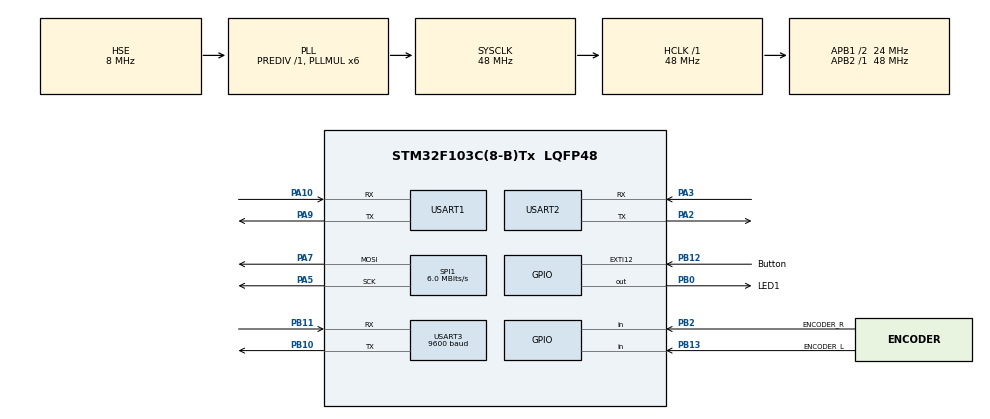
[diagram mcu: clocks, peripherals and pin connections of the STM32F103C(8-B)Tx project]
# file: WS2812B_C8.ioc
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Dma.Request0=SPI1_TX
Dma.SPI1_TX.0.Direction=DMA_MEMORY_TO_PERIPH
Dma.SPI1_TX.0.Instance=DMA1_Channel3
Dma.SPI1_TX.0.MemDataAlignment=DMA_MDATAALIGN_BYTE
Dma.SPI1_TX.0.MemInc=DMA_MINC_ENABLE
Dma.SPI1_TX.0.Mode=DMA_CIRCULAR
Dma.SPI1_TX.0.PeriphDataAlignment=DMA_PDATAALIGN_BYTE
Dma.SPI1_TX.0.PeriphInc=DMA_PINC_DISABLE
Dma.SPI1_TX.0.Priority=DMA_PRIORITY_VERY_HIGH
Mcu.Family=STM32F1
Mcu.Name=STM32F103C(8-B)Tx
Mcu.Package=LQFP48
NVIC.DMA1_Channel3_IRQn=true\:1\:0\:true\:false\:true\:false\:true
NVIC.EXTI15_10_IRQn=true\:0\:0\:false\:false\:true\:true\:true
NVIC.PriorityGroup=NVIC_PRIORITYGROUP_4
NVIC.TIM2_IRQn=true\:2\:0\:true\:false\:true\:true\:true
NVIC.USART1_IRQn=true\:0\:0\:false\:false\:true\:true\:true
NVIC.USART2_IRQn=true\:3\:0\:true\:false\:true\:true\:true
NVIC.USART3_IRQn=true\:3\:0\:true\:false\:true\:true\:true
PA10.Mode=Asynchronous
PA10.Signal=USART1_RX
PA13.Mode=Serial_Wire
PA13.Signal=SYS_JTMS-SWDIO
PA14.Mode=Serial_Wire
PA14.Signal=SYS_JTCK-SWCLK
PA2.Mode=Asynchronous
PA2.Signal=USART2_TX
PA3.Mode=Asynchronous
PA3.Signal=USART2_RX
PA5.Mode=TX_Only_Simplex_Unidirect_Master
PA5.Signal=SPI1_SCK
PA7.Mode=TX_Only_Simplex_Unidirect_Master
PA7.Signal=SPI1_MOSI
PA9.Mode=Asynchronous
PA9.Signal=USART1_TX
PB0.GPIO_Label=LED1
PB0.Signal=GPIO_Output
PB10.Mode=Asynchronous
PB10.Signal=USART3_TX
PB11.Mode=Asynchronous
PB11.Signal=USART3_RX
PB12.GPIO_Label=Button
PB12.GPIO_ModeDefaultEXTI=GPIO_MODE_IT_FALLING
PB12.GPIO_PuPd=GPIO_PULLUP
PB12.Signal=GPXTI12
PB13.GPIO_Label=ENCODER_L
PB13.GPIO_PuPd=GPIO_PULLUP
PB13.Signal=GPIO_Input
PB2.GPIO_Label=ENCODER_R
PB2.GPIO_PuPd=GPIO_PULLUP
PB2.Signal=GPIO_Input
PD0-OSC_IN.Mode=HSE-External-Oscillator
PD0-OSC_IN.Signal=RCC_OSC_IN
PD1-OSC_OUT.Mode=HSE-External-Oscillator
PD1-OSC_OUT.Signal=RCC_OSC_OUT
ProjectManager.HeapSize=0x200
ProjectManager.StackSize=0x400
ProjectManager.TargetToolchain=MDK-ARM V5
RCC.ADCPresc=RCC_ADCPCLK2_DIV4
RCC.AHBFreq_Value=48000000
RCC.APB1CLKDivider=RCC_HCLK_DIV2
RCC.APB1Freq_Value=24000000
RCC.APB1TimFreq_Value=48000000
RCC.APB2Freq_Value=48000000
RCC.APB2TimFreq_Value=48000000
RCC.HCLKFreq_Value=48000000
RCC.PLLMUL=RCC_PLL_MUL6
RCC.PLLSourceVirtual=RCC_PLLSOURCE_HSE
RCC.SYSCLKFreq_VALUE=48000000
RCC.SYSCLKSource=RCC_SYSCLKSOURCE_PLLCLK
RCC.USBFreq_Value=48000000
SPI1.BaudRatePrescaler=SPI_BAUDRATEPRESCALER_8
SPI1.CalculateBaudRate=6.0 MBits/s
SPI1.Direction=SPI_DIRECTION_2LINES
SPI1.Mode=SPI_MODE_MASTER
SPI1.VirtualType=VM_MASTER
TIM2.AutoReloadPreload=TIM_AUTORELOAD_PRELOAD_ENABLE
TIM2.Period=500
TIM2.Prescaler=4799
USART1.VirtualMode=VM_ASYNC
USART2.VirtualMode=VM_ASYNC
USART3.BaudRate=9600
USART3.VirtualMode=VM_ASYNC
VP_TIM2_VS_ClockSourceINT.Mode=Internal
board=custom

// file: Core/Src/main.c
/* USER CODE BEGIN Header */
/**
  ******************************************************************************
  * @file           : main.c
  * @brief          : Main program body
  ******************************************************************************
  * @attention
  *
  * <h2><center>&copy; Copyright (c) 2020 STMicroelectronics.
  * All rights reserved.</center></h2>
  *
  * This software component is licensed by ST under BSD 3-Clause license,
  * the "License"; You may not use this file except in compliance with the
  * License. You may obtain a copy of the License at:
  *                        opensource.org/licenses/BSD-3-Clause
  *
  ******************************************************************************
  */
/* USER CODE END Header */

#include "main.h"
#include "dma.h"
#include "spi.h"
#include "tim.h"
#include "usart.h"
#include "gpio.h"

/* USER CODE BEGIN Includes */
#include <stdlib.h>
#include "ws2812b.h"
#include "ws2812b_fx.h"
//#include "usb_parsing.h"
#include "sys.h"
#include "delay.h"
#include "usart.h"
#include <stdio.h>
#include <string.h>
/* USER CODE END Includes */

/* USER CODE BEGIN PTD */
uint8_t uart3_RxBuffer[30];

/* USER CODE END PTD */

/* USER CODE BEGIN PD */
int H;
int S;
int V;//H:0~180  S:0~255 V:0~255
int R=255,G=255,B=255;

	int data = 0;
	int LED = 0;
	int MODE = 2;
	int POWER = 1;

	int data_FLAG = 2;
	int LED_FLAG = 1;
	int MODE_FLAG = 0;
	int POWER_FLAG = 1;

/* USER CODE END PD */

void SystemClock_Config(void);

/* USER CODE BEGIN 0 */
int TODO(int mode,int data);//执行函数
int switch1(int num);

/* USER CODE END 0 */

int main(void)
{
  /* USER CODE BEGIN 1 */
	uint32_t ADC1_DMA_IN[1];
	float voltage;
  int h = 0;
	int Button_Flag=0;
	int R=255,G=255,B=255;

	H=255;
	S = 0;
	V = 100;

	data =100;

//	u8 b=0,c=0x01,push=0;
  /* USER CODE END 1 */

  /* MCU Configuration--------------------------------------------------------*/

  /* Reset of all peripherals, Initializes the Flash interface and the Systick. */
  HAL_Init();

  /* Configure the system clock */
  SystemClock_Config();

  /* Initialize all configured peripherals */
  MX_GPIO_Init();
  MX_DMA_Init();
  MX_SPI1_Init();
  MX_USART1_UART_Init();
  MX_TIM2_Init();
  MX_USART2_UART_Init();
  MX_USART3_UART_Init();
  /* USER CODE BEGIN 2 */
	HAL_UART_Receive_IT(&huart3,uart3_RxBuffer,10);//使能蓝牙串口接收
  WS2812B_Init(&hspi1);

  WS2812BFX_Init(1);	// Start 3 segments

    WS2812BFX_SetSpeed(0, 50000);	      // Speed of segment 0
//  WS2812BFX_SetSpeed(1, 2000);	      // Speed of segment 1
//  WS2812BFX_SetSpeed(2, 500);	        // Speed of segment 2
 //   WS2812BFX_SetColorRGB(0, 32,0,64);	// Set color 0
    WS2812BFX_SetColorRGB(0, 255,255,255);
    WS2812BFX_SetColorHSV(0,H,S,V);
//  WS2812BFX_SetColorRGB(1, 32,0,0);		// Set color 1
//  WS2812BFX_SetColorRGB(2, 0,64,0);		// Set color 2
   // WS2812BFX_SetMode(0, FX_MODE_WHITE_TO_COLOR);	// Set mode segment 0

//  WS2812BFX_SetColorRGB(0, 16,64,0);
//  WS2812BFX_SetColorRGB(1, 0,32,64);
//  WS2812BFX_SetColorRGB(2, 64,0,0);
    WS2812BFX_SetMode(0, FX_MODE_STATIC);	// Set mode segment 1

//  WS2812BFX_SetColorRGB(0, 16,64,0);
//  WS2812BFX_SetColorRGB(1, 0,32,64);
//  WS2812BFX_SetColorRGB(2, 64,0,0);
//  WS2812BFX_SetMode(2, FX_MODE_COLOR_WIPE); 	// Set mode segment 2

  HAL_Delay(2000);

  WS2812BFX_Start(0);	// Start segment 0
//  WS2812BFX_Start(1);	// Start segment 1
//  WS2812BFX_Start(2);	// Start segment 2
//

    printf("2,");
//  HAL_GPIO_WritePin(GPIOB, LED1_Pin, GPIO_PIN_SET);//led test
//  HAL_Delay(200);
int num=0, hw=1,gm=0;

  /* USER CODE END 2 */

  /* Infinite loop */
  /* USER CODE BEGIN WHILE */

while(1){

		if((USART3_RX_STA&0x3FFF)>0){
		//printf("recrived: %s\r\n",USART3_RX_BUF);
//		num=atoi(&USART3_RX_BUF[2]);
//		printf("atoi: %d\r\n",num);
   //printf("USART3_RX_BUF[0]: %c\r\n",USART3_RX_BUF[0]);

		num = atoi(&USART3_RX_BUF);
	//	printf("num=%d\r\n",num);
		memset(USART3_RX_BUF,0,sizeof(USART3_RX_BUF));
		USART3_RX_STA=0;
		switch(num){
		case 1:MODE = 6;break;
		case 2:MODE = 7;break;
		case 3:printf("2,");break;
		case 4:printf("0,");break;
		case 5:{
			V+=10;
		  if(V>180){V=180;}
			WS2812BFX_SetMode(0, FX_MODE_STATIC);
			WS2812BFX_SetColorHSV(0,H,S,V);
			WS2812BFX_Start(0);
			break;}
		case 6:{
			V-=10;
			if(V<11){V=10;}
			WS2812BFX_SetMode(0, FX_MODE_STATIC);
			WS2812BFX_SetColorHSV(0,H,S,V);
			WS2812BFX_Start(0);
			break;}
		case 7:{  B +=10;
		if(B>200){B=200;}
	  WS2812BFX_SetMode(0, FX_MODE_STATIC);
		WS2812BFX_SetColorRGB(0,R,G,B);
		WS2812BFX_Start(0);
		break;}
		case 8:{B -=10;
		if(B<11){B=0;}
	  WS2812BFX_SetMode(0, FX_MODE_STATIC);
		WS2812BFX_SetColorRGB(0,R,G,B);
		WS2812BFX_Start(0);
		break;}
		case 9:printf("5,");break;
		case 0:printf("10,");break;//wifi
		}
	}

/*
		if(num==1){//开灯
//				WS2812BFX_SetMode(0, FX_MODE_STATIC);
//				WS2812BFX_SetColorHSV(0,0,0,0);
//				WS2812BFX_Start(0);
			    MODE = 6;
		    //printf("off");
			}
		else if(num==2){//关灯
//		    WS2812BFX_SetMode(0, FX_MODE_STATIC);
//				WS2812BFX_SetColorHSV(0,255,0,100);
//				WS2812BFX_Start(0);
		   // printf("on");
			    MODE = 7;
			}
		else if(num==3){printf("2,");}//LED1氛围灯开
		else if(num==4){printf("0,");}//LED1氛围灯关
		else if(num==5){MODE = 10;}
		else if(num==6){MODE = 11;}
		else if(num==7){MODE = 12;}//光敏开
		else if(num==8){MODE = 13;}//光敏关
		else if(num==9){printf("5,");}//模式一
		else if(num==10){printf("9,");}//模式二
		else if(num>10&&num<265){
			  WS2812BFX_SetMode(0, FX_MODE_STATIC);
				WS2812BFX_SetColorHSV(0,H,S,num-10);
				WS2812BFX_Start(0);
		    printf("4,%d,",num-10);
		}//亮度
		else if(num>265&&num<520){
			  WS2812BFX_SetMode(0, FX_MODE_STATIC);
				WS2812BFX_SetColorRGB(0,R,G,num-265);
				WS2812BFX_Start(0);
		    printf("1,255,255,%d,150",num-265);
		}//色温或是B值
		else if(num>520&&num<775){ //R值
			  WS2812BFX_SetMode(0, FX_MODE_STATIC);
		    WS2812BFX_SetColorRGB(0,num-520,G,B);
				WS2812BFX_Start(0);
			  //printf("R=%d\r\n",num-520);}
		}else if(num>775&&num<1030){ //R值
			  WS2812BFX_SetMode(0, FX_MODE_STATIC);
		    WS2812BFX_SetColorRGB(0,R,num-775,B);
				WS2812BFX_Start(0);
			  //printf("R=%d\r\n",num-775);
		}
	}
		*/

		  Button_Flag = ENCODER_READ();	//读出旋转编码器值
			switch(Button_Flag){
				case 1:{data = data+3;if(data>252)data=255;break;} //分析按键值，并加减计数器值。
				case 2:{if(data<3)data=0;data=data-3;break;} //分析按键值，并加减计数器值。
				case 3:{//单击
					    MODE++;
					   if(MODE >4){MODE=0;}
								break;
							 }
				case 4:{//双击
					      MODE=5;
								//LED++;
								//if(LED > 1){LED = 0;}
								//printf("double push!!");
								//printf("%d",LED);
								break;
							 }
				case 5:{
								POWER++;
								if(POWER >= 2){POWER=0;}
								else if(POWER == 0){MODE = 0;}
								else if(POWER == 1){MODE = 1;}
							  //printf("long push!!");
					      //printf("%d",POWER);
								break;
							 }//长按
				default:break; //不属于判断情况
				}
			if(POWER!=POWER_FLAG || LED!=LED_FLAG || MODE!=MODE_FLAG || data!= data_FLAG){

			  TODO(MODE,data);//执行函数
				POWER_FLAG=POWER;
				LED_FLAG=LED;
				MODE_FLAG=MODE;
				data_FLAG= data;
			}

			WS2812BFX_Callback();
	}
/*
 while(1){
 HAL_Delay(1000);
	 printf("d");
 }
*/

    /* USER CODE END WHILE */

}

void SystemClock_Config(void)
{
  RCC_OscInitTypeDef RCC_OscInitStruct = {0};
  RCC_ClkInitTypeDef RCC_ClkInitStruct = {0};

  /** Initializes the CPU, AHB and APB busses clocks
  */
  RCC_OscInitStruct.OscillatorType = RCC_OSCILLATORTYPE_HSE;
  RCC_OscInitStruct.HSEState = RCC_HSE_ON;
  RCC_OscInitStruct.HSEPredivValue = RCC_HSE_PREDIV_DIV1;
  RCC_OscInitStruct.HSIState = RCC_HSI_ON;
  RCC_OscInitStruct.PLL.PLLState = RCC_PLL_ON;
  RCC_OscInitStruct.PLL.PLLSource = RCC_PLLSOURCE_HSE;
  RCC_OscInitStruct.PLL.PLLMUL = RCC_PLL_MUL6;
  if (HAL_RCC_OscConfig(&RCC_OscInitStruct) != HAL_OK)
  {
    Error_Handler();
  }
  /** Initializes the CPU, AHB and APB busses clocks
  */
  RCC_ClkInitStruct.ClockType = RCC_CLOCKTYPE_HCLK|RCC_CLOCKTYPE_SYSCLK
                              |RCC_CLOCKTYPE_PCLK1|RCC_CLOCKTYPE_PCLK2;
  RCC_ClkInitStruct.SYSCLKSource = RCC_SYSCLKSOURCE_PLLCLK;
  RCC_ClkInitStruct.AHBCLKDivider = RCC_SYSCLK_DIV1;
  RCC_ClkInitStruct.APB1CLKDivider = RCC_HCLK_DIV2;
  RCC_ClkInitStruct.APB2CLKDivider = RCC_HCLK_DIV1;

  if (HAL_RCC_ClockConfig(&RCC_ClkInitStruct, FLASH_LATENCY_1) != HAL_OK)
  {
    Error_Handler();
  }
}

/* USER CODE BEGIN 4 */

int TODO(int mode,int data){
	int m=0;

	switch(mode){
	case 0:{//关灯
		printf("0,");
		WS2812BFX_SetMode(0, FX_MODE_STATIC);
		WS2812BFX_SetColorHSV(0,0,0,0);
		WS2812BFX_Start(0);

	  }
	case 1:{//开灯

		WS2812BFX_SetMode(0, FX_MODE_STATIC);
		WS2812BFX_SetColorHSV(0,H,S,150);
		WS2812BFX_Start(0);
		printf("2,");
		break;
	  }
	case 2:{ //亮度
		V = data;
		if(V<10){V=10;}else if(V>170){V=170;}
		WS2812BFX_SetMode(0, FX_MODE_STATIC);
		WS2812BFX_SetColorHSV(0,H,S,V);
		WS2812BFX_Start(0);
		printf("4,%d,",V);
		break;
    }
	case 3:{
		B = data;
		if(B<5){B=0;}else if(B>200){B=200;}
	  WS2812BFX_SetMode(0, FX_MODE_STATIC);
		WS2812BFX_SetColorRGB(0,R,G,B);
		WS2812BFX_Start(0);
		printf("1,255,255,%d,100",B);
		break;
	  }
	case 4:{
			if(m>data){WS2812BFX_PrevMode(0);WS2812BFX_Start(0);}
			else{WS2812BFX_NextMode(0);WS2812BFX_Start(0);}
			m = data;
			break;
	  }
	case 5:{//连接wifi
	  printf("10,");
		break;
	}
	case 6:{//关主灯
		WS2812BFX_SetMode(0, FX_MODE_STATIC);
		WS2812BFX_SetColorHSV(0,0,0,0);
		WS2812BFX_Start(0);
		break;
	}
	case 7:{//开主灯
		WS2812BFX_SetMode(0, FX_MODE_STATIC);
		WS2812BFX_SetColorHSV(0,H,S,150);
		WS2812BFX_Start(0);
		break;
	}
	case 8:{//关屏幕挂灯
	  printf("0,");
		break;
	}
		case 9:{//开屏幕挂灯
	  printf("2,");
		break;
	}
		case 10:{//亮度自增10
	  V+=10;
		if(V>180){V=180;}
		WS2812BFX_SetMode(0, FX_MODE_STATIC);
		WS2812BFX_SetColorHSV(0,H,S,V);
		WS2812BFX_Start(0);
		break;
	}
		case 11:{//亮度自-10
	  V-=10;
		if(V<11){V=10;}
		WS2812BFX_SetMode(0, FX_MODE_STATIC);
		WS2812BFX_SetColorHSV(0,H,S,V);
		WS2812BFX_Start(0);
		break;
	}
		case 12:{
	  B +=10;
		if(B>200){B=200;}
	  WS2812BFX_SetMode(0, FX_MODE_STATIC);
		WS2812BFX_SetColorRGB(0,R,G,B);
		WS2812BFX_Start(0);
		break;
	}
		case 13:{
	  B -=10;
		if(B<11){B=0;}
	  WS2812BFX_SetMode(0, FX_MODE_STATIC);
		WS2812BFX_SetColorRGB(0,R,G,B);
		WS2812BFX_Start(0);
		break;
	}
	default:break; //不属于判断情况
}
	return 0;

}

void HAL_SYSTICK_Callback(void)
{
	WS2812BFX_SysTickCallback();	// FX effects software timers
}
/* USER CODE END 4 */

void Error_Handler(void)
{
}

/************************ (C) COPYRIGHT STMicroelectronics *****END OF FILE****/
